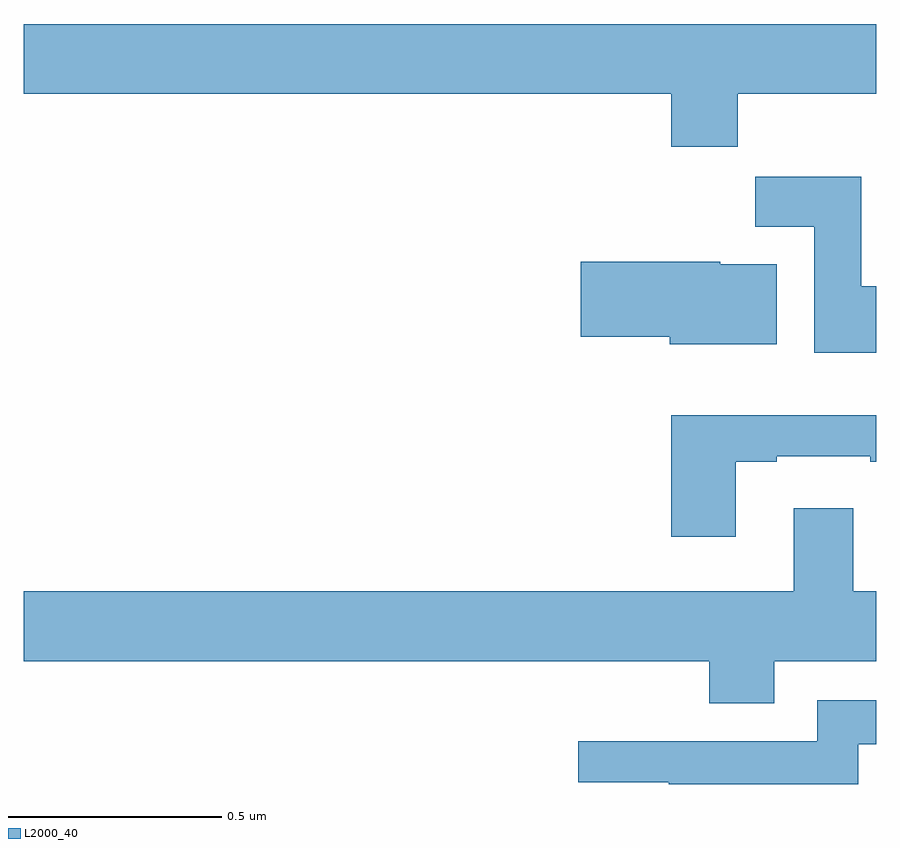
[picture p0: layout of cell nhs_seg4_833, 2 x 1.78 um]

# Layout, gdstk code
import gdstk
lib = gdstk.Library(unit=1e-6, precision=1e-09)
def P(c, l, *ps):  # polygons
    for p in ps: c.add(gdstk.Polygon(p, *l))
L2000_40 = (2000, 40)

nhs_seg4_833 = lib.new_cell('nhs_seg4_833')
P(nhs_seg4_833, L2000_40, [(122.675,763.52),(123,763.52),(123,763.684),(121,763.684),(121,763.52),(122.519,763.52),(122.519,763.396),(122.675,763.396)],
  [(123,763.068),(122.965,763.068),(122.965,763.326),(122.716,763.326),(122.716,763.208),(122.855,763.208),(122.855,762.912),(123,762.912)],
  [(122.767,763.12),(122.634,763.12),(122.634,763.126),(122.307,763.126),(122.307,762.95),(122.516,762.95),(122.516,762.932),(122.767,762.932)],
  [(122.671,762.657),(122.767,762.657),(122.767,762.669),(122.987,762.669),(122.987,762.657),(123,762.657),(123,762.766),(122.519,762.766),(122.519,762.48),(122.671,762.48)],
  [(122.761,762.188),(123,762.188),(123,762.352),(122.947,762.352),(122.947,762.547),(122.807,762.547),(122.807,762.352),(121,762.352),(121,762.188),(122.609,762.188),(122.609,762.089),(122.761,762.089)],
  [(122.958,761.993),(123,761.993),(123,762.097),(122.862,762.097),(122.862,762),(122.301,762),(122.301,761.904),(122.514,761.904),(122.514,761.9),(122.958,761.9)])

lib.write_gds('nhs_seg4_833.gds')
